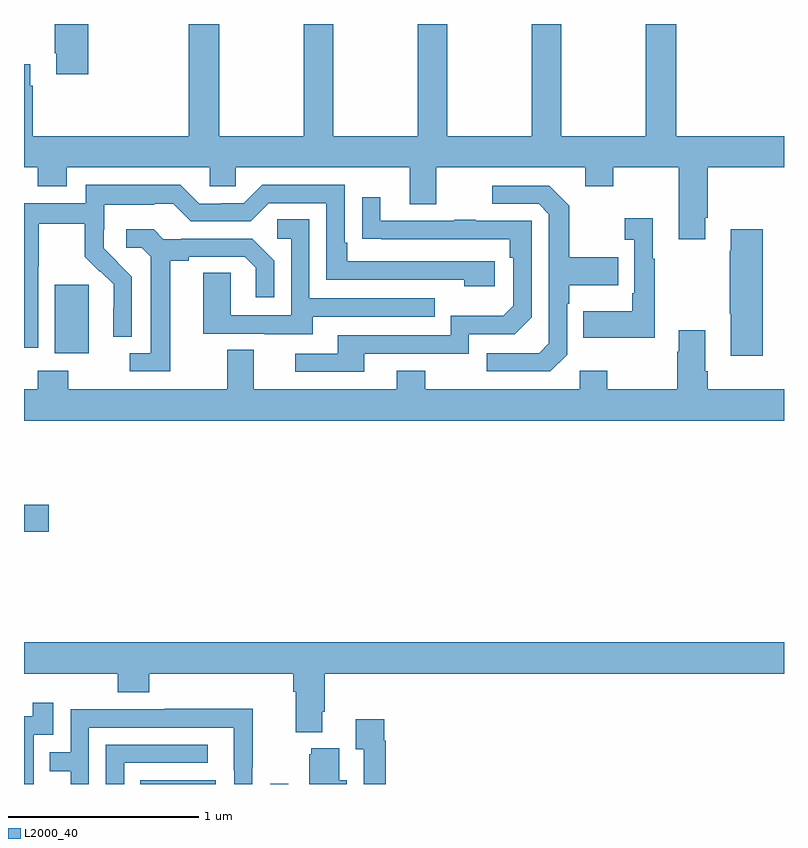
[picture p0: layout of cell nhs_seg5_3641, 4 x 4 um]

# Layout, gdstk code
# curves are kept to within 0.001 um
import gdstk
lib = gdstk.Library(unit=1e-6, precision=1e-09)
def R(c, l, rs):  # rectangles x0, y0, x1, y1
    for r in rs: c.add(gdstk.rectangle(r[:2], r[2:], *l))
def P(c, l, *ps):  # polygons
    for p in ps: c.add(gdstk.Polygon(p, *l))
L2000_40 = (2000, 40)

nhs_seg5_3641 = lib.new_cell('nhs_seg5_3641')
R(nhs_seg5_3641, L2000_40, [(325.612,902.799,326.008,902.818), (326.295,902.799,326.391,902.8), (325,904.127,325.129,904.269), (325.163,905.066,325.342,905.427)])
P(nhs_seg5_3641, L2000_40, [(325.337,906.799),(325.162,906.799),(325.162,906.646),(325.169,906.646),(325.169,906.534),(325.337,906.534)],
  [(328.585,905.779),(328.598,905.779),(328.598,906.044),(329,906.044),(329,906.208),(328.433,906.208),(328.433,906.799),(328.273,906.799),(328.273,906.208),(327.828,906.208),(327.828,906.799),(327.673,906.799),(327.673,906.208),(327.228,906.208),(327.228,906.799),(327.073,906.799),(327.073,906.208),(326.628,906.208),(326.628,906.799),(326.473,906.799),(326.473,906.208),(326.028,906.208),(326.028,906.799),(325.868,906.799),(325.868,906.208),(325.046,906.208),(325.046,906.473),(325.033,906.473),(325.033,906.586),(325,906.586),(325,906.044),(325.073,906.044),(325.073,905.945),(325.225,905.945),(325.225,906.044),(325.977,906.044),(325.977,905.946),(326.115,905.946),(326.115,906.044),(327.029,906.044),(327.029,905.85),(327.169,905.85),(327.169,906.044),(327.953,906.044),(327.953,905.945),(328.101,905.945),(328.101,906.044),(328.445,906.044),(328.445,905.667),(328.585,905.667)],
  [(325.074,905.524),(325.077,905.524),(325.077,905.748),(325.321,905.748),(325.321,905.573),(325.398,905.496),(325.401,905.499),(325.472,905.429),(325.472,905.306),(325.47,905.306),(325.47,905.152),(325.566,905.152),(325.566,905.47),(325.42,905.618),(325.42,905.715),(325.422,905.715),(325.422,905.849),(325.685,905.849),(325.685,905.853),(325.785,905.853),(325.878,905.76),(326.193,905.76),(326.289,905.856),(326.592,905.856),(326.592,905.454),(327.317,905.454),(327.317,905.42),(327.478,905.42),(327.478,905.55),(326.701,905.55),(326.701,905.647),(326.688,905.647),(326.688,905.952),(326.253,905.952),(326.157,905.856),(326.039,905.856),(326.039,905.853),(325.923,905.853),(325.823,905.953),(325.326,905.953),(325.326,905.856),(325,905.856),(325,905.095),(325.074,905.095)],
  [(327.858,905.058),(327.858,905.327),(327.871,905.327),(327.871,905.423),(328.127,905.423),(328.127,905.571),(327.871,905.571),(327.871,905.843),(327.765,905.949),(327.465,905.949),(327.465,905.853),(327.708,905.853),(327.762,905.799),(327.762,905.118),(327.711,905.067),(327.435,905.067),(327.435,904.971),(327.771,904.971)],
  [(326.791,905.064),(327.342,905.064),(327.342,905.166),(327.582,905.166),(327.672,905.256),(327.672,905.763),(327.377,905.763),(327.377,905.768),(327.265,905.768),(327.265,905.763),(326.875,905.763),(326.875,905.887),(326.779,905.887),(326.779,905.668),(327.556,905.667),(327.556,905.57),(327.576,905.57),(327.576,905.316),(327.523,905.263),(327.246,905.263),(327.246,905.16),(326.651,905.16),(326.651,905.064),(326.427,905.064),(326.427,904.968),(326.791,904.968)],
  [(328.321,905.563),(328.309,905.563),(328.309,905.776),(328.161,905.776),(328.161,905.663),(328.212,905.663),(328.212,905.383),(328.2,905.383),(328.2,905.287),(327.943,905.287),(327.943,905.147),(328.321,905.147)],
  [(326.521,905.259),(327.161,905.259),(327.161,905.355),(326.502,905.355),(326.502,905.771),(326.334,905.771),(326.334,905.67),(326.406,905.67),(326.406,905.265),(326.088,905.265),(326.088,905.489),(325.943,905.489),(325.943,905.169),(326.267,905.169),(326.267,905.165),(326.521,905.165)],
  [(325.771,905.552),(325.867,905.552),(325.867,905.574),(326.162,905.574),(326.219,905.517),(326.219,905.361),(326.316,905.361),(326.316,905.554),(326.2,905.67),(325.828,905.67),(325.828,905.667),(325.734,905.667),(325.682,905.719),(325.539,905.719),(325.539,905.622),(325.62,905.622),(325.667,905.575),(325.667,905.067),(325.557,905.067),(325.557,904.971),(325.771,904.971)],
  [(328.889,905.719),(328.721,905.719),(328.721,905.606),(328.714,905.606),(328.714,905.275),(328.721,905.275),(328.721,905.052),(328.889,905.052)],
  [(329,904.876),(328.598,904.876),(328.598,904.972),(328.585,904.972),(328.585,905.188),(328.445,905.188),(328.445,905.075),(328.438,905.075),(328.438,904.876),(328.071,904.876),(328.071,904.975),(327.924,904.975),(327.924,904.876),(327.111,904.876),(327.111,904.975),(326.963,904.975),(326.963,904.876),(326.209,904.876),(326.209,905.084),(326.069,905.084),(326.069,904.876),(325.233,904.876),(325.233,904.975),(325.073,904.975),(325.073,904.876),(325,904.876),(325,904.712),(329,904.712)],
  [(326.569,903.178),(326.582,903.178),(326.582,903.38),(329,903.38),(329,903.544),(325,903.544),(325,903.38),(325.493,903.38),(325.493,903.281),(325.658,903.281),(325.658,903.38),(326.417,903.38),(326.417,903.284),(326.429,903.284),(326.429,903.071),(326.569,903.071)],
  [(325.052,902.828),(325.05,902.828),(325.05,903.057),(325.155,903.057),(325.155,903.226),(325.047,903.226),(325.047,903.156),(325,903.156),(325,902.799),(325.052,902.799)],
  [(325.341,903.096),(326.105,903.096),(326.105,902.872),(326.106,902.872),(326.106,902.799),(326.202,902.799),(326.202,902.887),(326.205,902.887),(326.205,903.194),(325.741,903.194),(325.741,903.192),(325.245,903.192),(325.245,902.967),(325.135,902.967),(325.135,902.866),(325.245,902.866),(325.245,902.799),(325.341,902.799)],
  [(326.903,903.026),(326.896,903.026),(326.896,903.139),(326.747,903.139),(326.747,902.983),(326.787,902.983),(326.787,902.799),(326.903,902.799)],
  [(325.527,902.91),(325.966,902.91),(325.966,903.006),(325.431,903.006),(325.431,902.799),(325.527,902.799)],
  [(326.698,902.818),(326.659,902.818),(326.659,902.986),(326.513,902.986),(326.513,902.955),(326.501,902.955),(326.501,902.799),(326.698,902.799)])

lib.write_gds('nhs_seg5_3641.gds')
